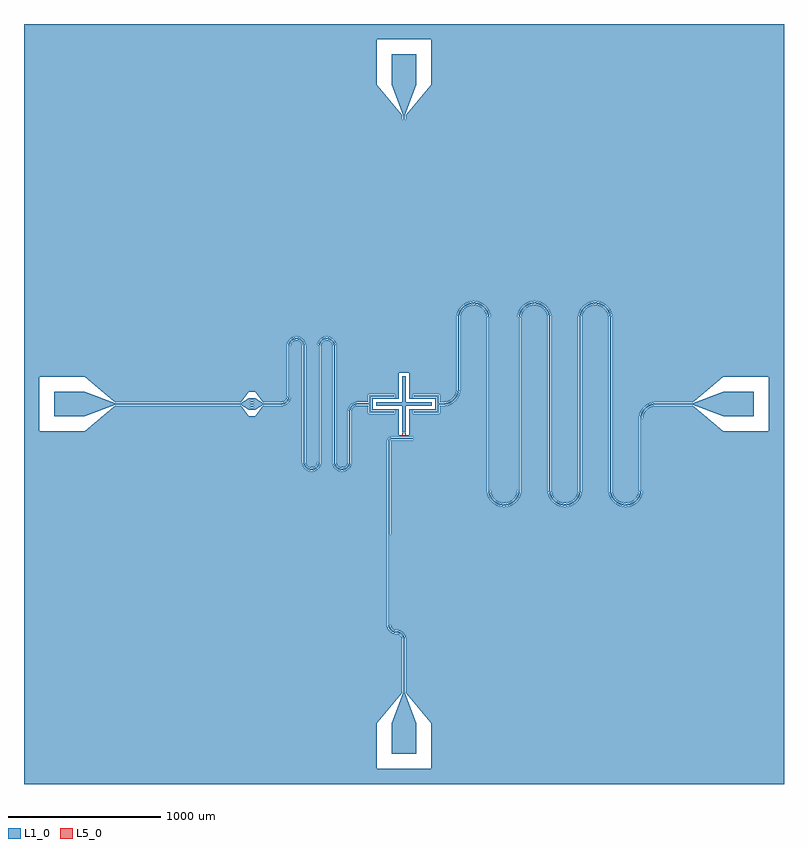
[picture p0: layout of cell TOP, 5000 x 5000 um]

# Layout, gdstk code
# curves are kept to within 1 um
import gdstk
lib = gdstk.Library(unit=1e-6, precision=1e-09)
def P(c, l, *ps):  # polygons
    for p in ps: c.add(gdstk.Polygon(p, *l))
L1_0 = (1, 0)
L5_0 = (5, 0)

ground_main_1 = lib.new_cell('ground_main_1')

top_main_1 = lib.new_cell('TOP_main_1')
top_main_1.add(gdstk.Reference(ground_main_1, (0,0)))

top_main = lib.new_cell('TOP_main')
top_main.add(gdstk.Reference(top_main_1, (0,0)))

top = lib.new_cell('TOP')
P(top, L1_0, [(200,2420),(200,2580),(400,2580),(600,2505),(1427,2505),(1477,2537),(1487,2537),(1487,2521),(1507,2521),(1507,2511),(1487,2511),(1487,2489),(1507,2489),(1507,2479),(1487,2479),(1487,2463),(1477,2463),(1427,2495),(600,2495),(400,2420)],
  [(2493,2304),(2488,2304.9),(2493,2306),(2493,2317),(2488,2317),(2488,2488),(2317,2488),(2317,2512),(2488,2512),(2488,2683),(2512,2683),(2512,2512),(2683,2512),(2683,2488),(2512,2488),(2512,2317),(2507,2317),(2507,2306),(2512,2304.9),(2505,2304),(2505,2317),(2495,2317),(2495,2304)],
  [(1891.99,2064.305),(1873.402,2067.542),(1863.889,2072.027),(1855.404,2078.242),(1848.257,2085.959),(1842.71,2094.895),(1838.966,2104.724),(1837.161,2115.086),(1837,2880.705),(1833.756,2897.48),(1825.783,2910.429),(1817.203,2917.98),(1805.184,2923.723),(1792.01,2925.695),(1780.654,2924.243),(1768.401,2919.015),(1759.509,2911.835),(1751.817,2900.96),(1748.01,2890.183),(1746.96,2547.884),(1743.013,2529.434),(1733.063,2513.404),(1725.346,2506.257),(1716.41,2500.71),(1698.316,2495.363),(1573,2495),(1523,2463),(1493,2463),(1493,2473),(1513,2473),(1513,2495),(1493,2495),(1493,2505),(1513,2505),(1513,2527),(1493,2527),(1493,2537),(1523,2537),(1573,2505),(1695.825,2505.162),(1712.265,2509.817),(1725.783,2520.266),(1733.756,2533.215),(1736.959,2548.081),(1737,2880.705),(1738.966,2895.276),(1744.722,2908.806),(1753.858,2920.326),(1765.72,2929.014),(1779.46,2934.248),(1794.116,2935.655),(1806.581,2933.729),(1820.111,2927.973),(1831.631,2918.837),(1842.189,2903.2),(1845.554,2893.235),(1846.96,2882.811),(1847.162,2115.48),(1850.244,2102.52),(1855.818,2092.543),(1863.726,2084.291),(1875.215,2077.549),(1888.175,2074.467),(1899.613,2074.952),(1910.541,2078.299),(1920.274,2084.291),(1927.014,2091.032),(1932.183,2099.04),(1935.99,2109.817),(1937,2119.295),(1937.161,2884.914),(1938.966,2895.276),(1942.71,2905.105),(1949.566,2915.692),(1957.003,2923.129),(1967.59,2929.985),(1977.419,2933.729),(1987.781,2935.534),(1998.316,2935.332),(2016.41,2929.985),(2031.631,2918.837),(2042.189,2903.2),(2046.839,2884.914),(2047,2119.295),(2050.244,2102.52),(2058.217,2089.571),(2066.797,2082.02),(2078.816,2076.277),(2090.081,2074.346),(2101.488,2075.315),(2112.265,2079.122),(2123.14,2086.814),(2131.287,2097.354),(2135.548,2107.959),(2137,2119.295),(2137.04,2452.116),(2138.446,2462.54),(2141.811,2472.505),(2147.012,2481.647),(2153.858,2489.631),(2169.495,2500.189),(2185.684,2504.637),(2272,2505),(2272,2557),(2437,2557),(2437,2547),(2282,2547),(2282,2453),(2437,2453),(2437,2443),(2272,2443),(2272,2495),(2186.275,2494.636),(2171.735,2490.183),(2160.86,2482.491),(2150.994,2468.541),(2147.041,2451.919),(2147,2119.295),(2145.034,2104.724),(2139.278,2091.194),(2130.142,2079.674),(2118.28,2070.986),(2104.54,2065.752),(2089.884,2064.345),(2077.419,2066.271),(2063.889,2072.027),(2052.369,2081.163),(2041.811,2096.8),(2038.446,2106.765),(2037.04,2117.189),(2036.838,2884.52),(2034.43,2895.693),(2029.285,2905.898),(2021.734,2914.478),(2012.265,2920.878),(1999.613,2925.048),(1988.175,2925.533),(1977.002,2923.125),(1966.797,2917.98),(1958.217,2910.429),(1952.713,2902.646),(1948.972,2893.879),(1947.041,2882.614),(1946.839,2115.086),(1945.034,2104.724),(1941.29,2094.895),(1935.743,2085.959),(1928.596,2078.242),(1920.111,2072.027),(1910.598,2067.542)],
  [(3157.99,1831.348),(3137.862,1833.295),(3118.481,1839.065),(3100.566,1848.444),(3086.882,1859.094),(3075.138,1871.852),(3064.312,1888.931),(3056.961,1907.77),(3053.637,1924.788),(3052.96,3066.425),(3051.038,3082.871),(3045.231,3101.286),(3037.373,3115.86),(3025.178,3130.83),(3007.878,3144.51),(2985.253,3154.662),(2960.773,3158.612),(2936.084,3156.092),(2912.908,3147.272),(2892.804,3132.755),(2877.142,3113.53),(2866.991,3090.906),(2864.003,3077.429),(2863,3063.662),(2862.96,2597.097),(2858.213,2568.649),(2845.904,2542.566),(2835.254,2528.882),(2824.755,2518.946),(2810.505,2509.066),(2797.519,2502.717),(2769.56,2495.637),(2728,2495),(2728,2443),(2563,2443),(2563,2453),(2718,2453),(2718,2547),(2563,2547),(2563,2557),(2728,2557),(2728,2505),(2758.01,2505),(2782.595,2508.237),(2795.634,2512.769),(2807.878,2519.142),(2819.068,2527.223),(2828.97,2536.841),(2842.896,2557.359),(2850.44,2578.084),(2852.96,2597.227),(2853.637,3075.212),(2860.717,3103.171),(2873.393,3125.841),(2891.245,3144.706),(2913.183,3158.611),(2937.862,3166.705),(2960.903,3168.612),(2986.578,3164.691),(3007.98,3155.998),(3026.962,3142.836),(3042.607,3125.841),(3055.283,3103.171),(3061.568,3080.943),(3063,3063.662),(3063.161,1930.815),(3064.962,1917.129),(3069.711,1901.267),(3075.726,1888.843),(3083.478,1877.422),(3094.841,1865.378),(3105.792,1856.975),(3117.845,1850.248),(3130.747,1845.338),(3149.711,1841.709),(3169.038,1841.99),(3187.889,1846.169),(3207.878,1855.49),(3225.178,1869.17),(3237.373,1884.14),(3246.289,1901.267),(3251.997,1922.571),(3253.159,3069.446),(3258.689,3097.752),(3271.712,3123.486),(3291.245,3144.706),(3315.816,3159.809),(3337.862,3166.705),(3363.794,3168.493),(3386.578,3164.691),(3407.98,3155.998),(3426.962,3142.836),(3442.607,3125.841),(3455.283,3103.171),(3461.568,3080.943),(3463,3063.662),(3463.161,1930.815),(3464.962,1917.129),(3468.729,1903.849),(3474.38,1891.256),(3481.796,1879.614),(3490.822,1869.17),(3501.266,1860.144),(3522.919,1848.059),(3544.223,1842.351),(3566.289,1841.709),(3587.889,1846.169),(3605.505,1854.074),(3623.196,1867.245),(3637.373,1884.14),(3646.289,1901.267),(3651.997,1922.571),(3653.159,3069.446),(3657.787,3095.003),(3668.547,3118.643),(3684.781,3138.917),(3705.495,3154.586),(3729.422,3164.691),(3752.206,3168.493),(3778.138,3166.705),(3802.817,3158.611),(3824.755,3144.706),(3840.862,3128.148),(3854.157,3105.836),(3861.568,3080.943),(3863,3063.662),(3863.04,1933.575),(3866.991,1909.094),(3877.142,1886.47),(3892.804,1867.245),(3912.908,1852.728),(3930.747,1845.338),(3952.467,1841.509),(3971.777,1842.351),(3993.081,1848.059),(4012.494,1858.527),(4028.97,1873.189),(4040.274,1888.843),(4049.009,1909.094),(4051.997,1922.571),(4053,1936.338),(4053.359,2408.68),(4056.961,2428.578),(4065.654,2449.98),(4076.946,2466.755),(4091.245,2481.054),(4105.495,2490.934),(4118.481,2497.283),(4135.031,2502.459),(4149.32,2504.641),(4400,2505),(4600,2580),(4800,2580),(4800,2420),(4600,2420),(4400,2495),(4149.711,2494.639),(4136.084,2492.44),(4122.919,2488.289),(4108.122,2480.858),(4096.932,2472.777),(4083.478,2458.926),(4073.104,2442.641),(4066.237,2424.595),(4063.161,2405.533),(4063,1936.338),(4059.039,1907.77),(4050.346,1886.368),(4037.184,1867.386),(4020.189,1851.741),(4000.184,1840.191),(3978.138,1833.295),(3955.097,1831.388),(3932.216,1834.561),(3910.584,1842.66),(3886.882,1859.094),(3870.096,1878.914),(3857.787,1904.997),(3853.159,1930.554),(3851.997,3077.429),(3846.289,3098.733),(3834.204,3120.386),(3816.926,3138.174),(3798.155,3149.752),(3777.219,3156.69),(3755.227,3158.612),(3730.747,3154.662),(3710.495,3145.926),(3690.822,3130.83),(3677.142,3113.53),(3666.991,3090.906),(3663.04,3066.425),(3662.005,1921.917),(3656.334,1899.524),(3645.904,1878.914),(3629.118,1859.094),(3610.505,1845.414),(3589.351,1836.135),(3566.68,1831.707),(3543.569,1832.343),(3521.177,1838.014),(3508.02,1844.002),(3493.504,1853.486),(3473.393,1874.159),(3459.666,1899.524),(3454.947,1916.21),(3453.159,1930.554),(3451.997,3077.429),(3446.289,3098.733),(3435.821,3118.146),(3421.159,3134.622),(3403.092,3147.272),(3382.595,3155.415),(3360.773,3158.612),(3338.781,3156.69),(3317.845,3149.752),(3305.792,3143.025),(3294.841,3134.622),(3278.627,3115.86),(3267.821,3093.541),(3263.161,3069.185),(3262.363,1924.788),(3259.039,1907.77),(3251.688,1888.931),(3240.862,1871.852),(3229.118,1859.094),(3215.434,1848.444),(3197.519,1839.065),(3178.138,1833.295)],
  [(0,0),(0,2941.695),(1991.99,2941.695),(1980.912,2940.68),(1970.202,2937.671),(1960.218,2932.766),(1951.29,2926.129),(1943.717,2917.98),(1937.749,2908.592),(1933.586,2898.276),(1931.366,2887.375),(1930.961,2117.546),(1927.862,2103.971),(1920.192,2092.351),(1908.927,2084.166),(1897.244,2080.658),(1881.617,2081.71),(1867.68,2088.812),(1857.656,2100.819),(1853.157,2115.8),(1852.959,2882.932),(1849.733,2900.397),(1841.613,2916.192),(1827.498,2930.307),(1811.702,2938.428),(1798.681,2941.329),(1787.538,2941.532),(1776.564,2939.712),(1764.103,2934.946),(1752.976,2927.585),(1745.11,2919.719),(1737.749,2908.592),(1732.983,2896.131),(1731,2880.705),(1730.843,2546.495),(1727.139,2533.073),(1720.192,2523.045),(1708.927,2514.861),(1697.244,2511.353),(1573,2511),(1523,2581.5),(1477,2581.5),(1427,2511),(600,2511),(400,2680),(100,2680),(100,2320),(400,2320),(600,2489),(1427,2489),(1477,2418.5),(1523,2418.5),(1573,2489),(1703.088,2490.015),(1715.863,2493.858),(1727.498,2500.387),(1737.434,2509.29),(1745.196,2520.14),(1751.017,2534.564),(1752.959,2547.763),(1753.353,2885.939),(1759.45,2902.184),(1771.992,2914.176),(1788.495,2919.538),(1804.059,2917.787),(1814.928,2912.248),(1823.554,2903.623),(1828.514,2894.405),(1830.961,2882.454),(1831.366,2112.625),(1833.586,2101.724),(1837.749,2091.408),(1843.717,2082.02),(1851.29,2073.871),(1860.218,2067.234),(1870.202,2062.329),(1880.912,2059.32),(1891.99,2058.305),(1903.088,2059.32),(1913.798,2062.329),(1923.782,2067.234),(1932.71,2073.871),(1940.283,2082.02),(1946.251,2091.408),(1951.017,2103.869),(1952.837,2114.843),(1953.353,2885.939),(1956.861,2897.622),(1962.628,2906.358),(1971.992,2914.176),(1981.617,2918.29),(1993.759,2919.656),(2004.059,2917.787),(2013.489,2913.245),(2022.494,2905.015),(2028.514,2894.405),(2031,2880.705),(2031.041,2117.068),(2033.586,2101.724),(2039.929,2087.523),(2049.658,2075.388),(2062.14,2066.109),(2076.564,2060.288),(2092.01,2058.305),(2107.436,2060.288),(2123.782,2067.234),(2135.917,2076.964),(2145.196,2089.446),(2151.017,2103.869),(2152.959,2117.068),(2153,2283),(2416.005,2283),(2405.625,2280.513),(2398.876,2276.044),(2392.487,2267.375),(2390,2256.995),(2389.039,1047.878),(2390.651,1035.859),(2394.651,1024.315),(2400.872,1013.798),(2409.064,1004.733),(2418.898,997.482),(2429.98,992.337),(2441.865,989.504),(2459.043,987.951),(2469.883,983.567),(2481.409,973.143),(2487.951,959.043),(2489,951.213),(2489,600),(2320,400),(2320,100),(2680,100),(2680,400),(2511,600),(2511,952.131),(2509.379,964.151),(2505.371,975.694),(2499.143,986.209),(2486.209,999.143),(2475.694,1005.371),(2464.151,1009.379),(2437.21,1013.145),(2423.846,1021.065),(2414.637,1033.575),(2411.039,1048.78),(2412.05,2256.666),(2413.646,2259.702),(2416.925,2261),(2560,2261),(2560,2267),(2416.674,2267),(2409.624,2264.164),(2406.096,2257.467),(2405.039,1048.534),(2409.186,1031.05),(2419.815,1016.611),(2435.238,1007.47),(2462.758,1003.535),(2478.046,997.352),(2486.921,990.812),(2494.306,982.646),(2499.921,973.165),(2503.535,962.758),(2505,951.881),(2505,600),(2580,400),(2580,200),(2420,200),(2420,400),(2495,600),(2495,951.463),(2490.839,968.951),(2486.246,976.706),(2476.706,986.246),(2460.436,993.795),(2431.952,998.012),(2421.961,1002.65),(2413.095,1009.187),(2405.71,1017.359),(2400.102,1026.84),(2396.495,1037.248),(2395.039,1048.124),(2396,2256.744),(2397.937,2264.846),(2401.418,2270.102),(2408.154,2275.063),(2414.199,2276.828),(2560,2277),(2560,2283),(2153,2283),(2153.157,2453.505),(2154.908,2462.059),(2159.45,2471.489),(2165.045,2478.192),(2173.514,2484.344),(2190.241,2488.961),(2266,2489),(2266,2437),(2443,2437),(2443,2459),(2288,2459),(2288,2541),(2443,2541),(2443,2563),(2266,2563),(2266,2511),(2189.763,2510.959),(2174.419,2508.414),(2162.14,2503.196),(2151.29,2495.434),(2142.387,2485.498),(2135.858,2473.863),(2132.459,2463.271),(2131,2450.01),(2130.373,2112.333),(2127.139,2102.378),(2121.372,2093.642),(2113.489,2086.755),(2104.059,2082.213),(2093.759,2080.344),(2085.028,2080.932),(2075.073,2084.166),(2066.337,2089.933),(2056.861,2102.378),(2053,2119.295),(2053,2707),(2464,2707),(2464,2536),(2293,2536),(2293,2464),(2464,2464),(2464,2293),(2489,2293),(2487,2289),(2493,2289),(2491,2293),(2509,2293),(2507,2289),(2513,2289),(2511,2293),(2536,2293),(2536,2464),(2707,2464),(2707,2536),(2536,2536),(2536,2707),(2053,2707),(2051.985,2891.783),(2046.251,2908.592),(2037.434,2921.405),(2023.782,2932.766),(2007.436,2939.712),(1992.01,2941.695),(0,2941.695),(0,3174.652),(3757.99,3174.652),(3737.425,3172.73),(3717.572,3167.031),(3701.644,3159.286),(3684.902,3147.19),(3670.691,3132.201),(3659.503,3114.839),(3652.616,3098.521),(3647.982,3078.393),(3646.959,1933.65),(3642.971,1909.863),(3632.741,1888.021),(3617.48,1870.147),(3599.366,1857.541),(3579.307,1849.934),(3558.01,1847.348),(3536.693,1849.934),(3516.634,1857.541),(3501.017,1867.976),(3486.313,1883.597),(3475.774,1902.283),(3470.013,1922.948),(3468.843,3069.569),(3464.274,3095.704),(3453.634,3120.008),(3439.563,3138.948),(3419.365,3156.152),(3392.869,3169.036),(3366.865,3174.298),(3340.336,3173.239),(3314.834,3165.919),(3291.799,3152.755),(3270.691,3132.201),(3256.919,3109.525),(3248.413,3081.317),(3247,3063.662),(3246.959,1933.65),(3244.414,1915.041),(3236.807,1894.982),(3224.62,1877.327),(3208.562,1863.101),(3187.039,1852.216),(3166.063,1847.713),(3144.6,1848.361),(3121.467,1855.188),(3103.108,1866.286),(3086.313,1883.597),(3075.774,1902.283),(3069.649,1925.611),(3068.961,3066.617),(3066.492,3087.123),(3061.379,3104.08),(3052.1,3122.534),(3039.563,3138.948),(3019.365,3156.152),(2992.869,3169.036),(2963.917,3174.495),(2934.529,3172.144),(2909.453,3163.477),(2884.902,3147.19),(2865.5,3125.017),(2853.582,3101.314),(2848.922,3084.227),(2847.039,3066.617),(2846.838,2594.617),(2845.018,2581.313),(2840.226,2565.935),(2834.166,2553.952),(2826.372,2543.017),(2808.562,2526.753),(2787.039,2515.868),(2766.063,2511.365),(2734,2511),(2734,2563),(2557,2563),(2557,2541),(2712,2541),(2712,2459),(2557,2459),(2557,2437),(2734,2437),(2734,2489),(2764,2489),(2781.471,2491.508),(2795.662,2495.582),(2821.806,2509.167),(2843.454,2529.151),(2853.634,2543.644),(2861.379,2559.572),(2866.492,2576.529),(2868.843,2594.083),(2869,3063.662),(2870.013,3077.052),(2873.029,3090.137),(2883.259,3111.979),(2898.979,3130.272),(2919.033,3143.672),(2941.949,3151.194),(2966.063,3152.287),(2989.566,3146.869),(3010.751,3135.339),(3028.061,3118.544),(3035.522,3107.379),(3042.132,3092.691),(3045.542,3079.703),(3046.959,3066.35),(3047.354,1927.482),(3050.91,1907.136),(3056.919,1890.475),(3065.5,1874.983),(3076.437,1861.052),(3091.799,1847.245),(3106.813,1837.851),(3123.131,1830.964),(3140.336,1826.761),(3160.965,1825.387),(3184.351,1828.519),(3206.547,1836.523),(3224.201,1847.245),(3239.563,1861.052),(3253.634,1879.992),(3263.384,1901.479),(3268.018,1921.607),(3269.162,3069.035),(3270.982,3082.339),(3275.774,3097.717),(3281.834,3109.7),(3289.628,3120.635),(3298.979,3130.272),(3309.673,3138.393),(3321.467,3144.812),(3334.093,3149.384),(3352.617,3152.49),(3371.4,3151.639),(3389.566,3146.869),(3406.327,3138.393),(3420.935,3126.588),(3432.741,3111.979),(3442.132,3092.691),(3446.351,3074.389),(3447.157,1930.431),(3452.616,1901.479),(3463.9,1877.466),(3482.704,1854.785),(3506.813,1837.851),(3528.788,1829.258),(3555.035,1825.387),(3581.471,1827.856),(3606.547,1836.523),(3628.849,1850.894),(3647.103,1870.147),(3660.266,1893.182),(3667.587,1918.683),(3669,1936.338),(3669.162,3069.035),(3673.868,3092.691),(3679.193,3105.018),(3686.313,3116.403),(3695.065,3126.588),(3705.249,3135.339),(3716.634,3142.459),(3728.961,3147.784),(3747.263,3152.003),(3766.063,3152.287),(3784.485,3148.623),(3804.048,3139.818),(3820.935,3126.588),(3832.741,3111.979),(3842.132,3092.691),(3846.351,3074.389),(3847.039,1933.383),(3850.91,1907.136),(3859.503,1885.161),(3874.462,1863.25),(3894.194,1845.514),(3914.834,1834.081),(3940.336,1826.761),(3966.865,1825.702),(3992.869,1830.964),(4014.356,1840.714),(4035.44,1856.818),(4052.1,1877.466),(4062.418,1898.686),(4067.078,1915.773),(4068.961,1933.383),(4069.365,2408.063),(4073.868,2429.039),(4084.753,2450.562),(4101.017,2468.372),(4119.033,2480.02),(4136.693,2486.414),(4155.302,2488.959),(4400,2489),(4600,2320),(4900,2320),(4900,2680),(4600,2680),(4400,2511),(4155.035,2510.961),(4131.649,2507.829),(4112.128,2501.081),(4087.151,2485.454),(4068.897,2466.201),(4054.621,2440.428),(4047.629,2411.808),(4047,1936.338),(4045.987,1922.948),(4042.971,1909.863),(4034.166,1890.3),(4020.935,1873.412),(4004.048,1860.182),(3984.485,1851.377),(3963.383,1847.51),(3944.6,1848.361),(3923.935,1854.122),(3905.249,1864.661),(3889.628,1879.365),(3879.193,1894.982),(3871.586,1915.041),(3869.041,1933.65),(3868.371,3075.46),(3865.09,3092.864),(3859.081,3109.525),(3850.5,3125.017),(3839.563,3138.948),(3824.201,3152.755),(3809.187,3162.149),(3792.869,3169.036),(3775.664,3173.239),(3758.01,3174.652),(0,3174.652),(0,4900),(2320,4900),(2320,4600),(2489,4400),(2489,4370),(2495,4370),(2495,4400),(2420,4600),(2420,4800),(2580,4800),(2580,4600),(2505,4400),(2505,4370),(2511,4370),(2511,4400),(2680,4600),(2680,4900),(0,4900),(0,5000),(5000,5000),(5000,0)])
P(top, L5_0, [(2485,2287),(2485,2294),(2488,2294),(2489,2295),(2489,2302),(2489.9,2302.9),(2490.1,2307),(2490.1,2302.9),(2491,2302),(2491,2295),(2492,2294),(2495,2294),(2495,2287)],
  [(2505,2287),(2505,2294),(2508,2294),(2509,2295),(2509,2302),(2509.75,2302.75),(2509.75,2307),(2510.25,2307),(2510.25,2302.75),(2511,2302),(2511,2295),(2512,2294),(2515,2294),(2515,2287)])
top.add(gdstk.Reference(top_main, (0,0)))

lib.write_gds('TOP.gds')
